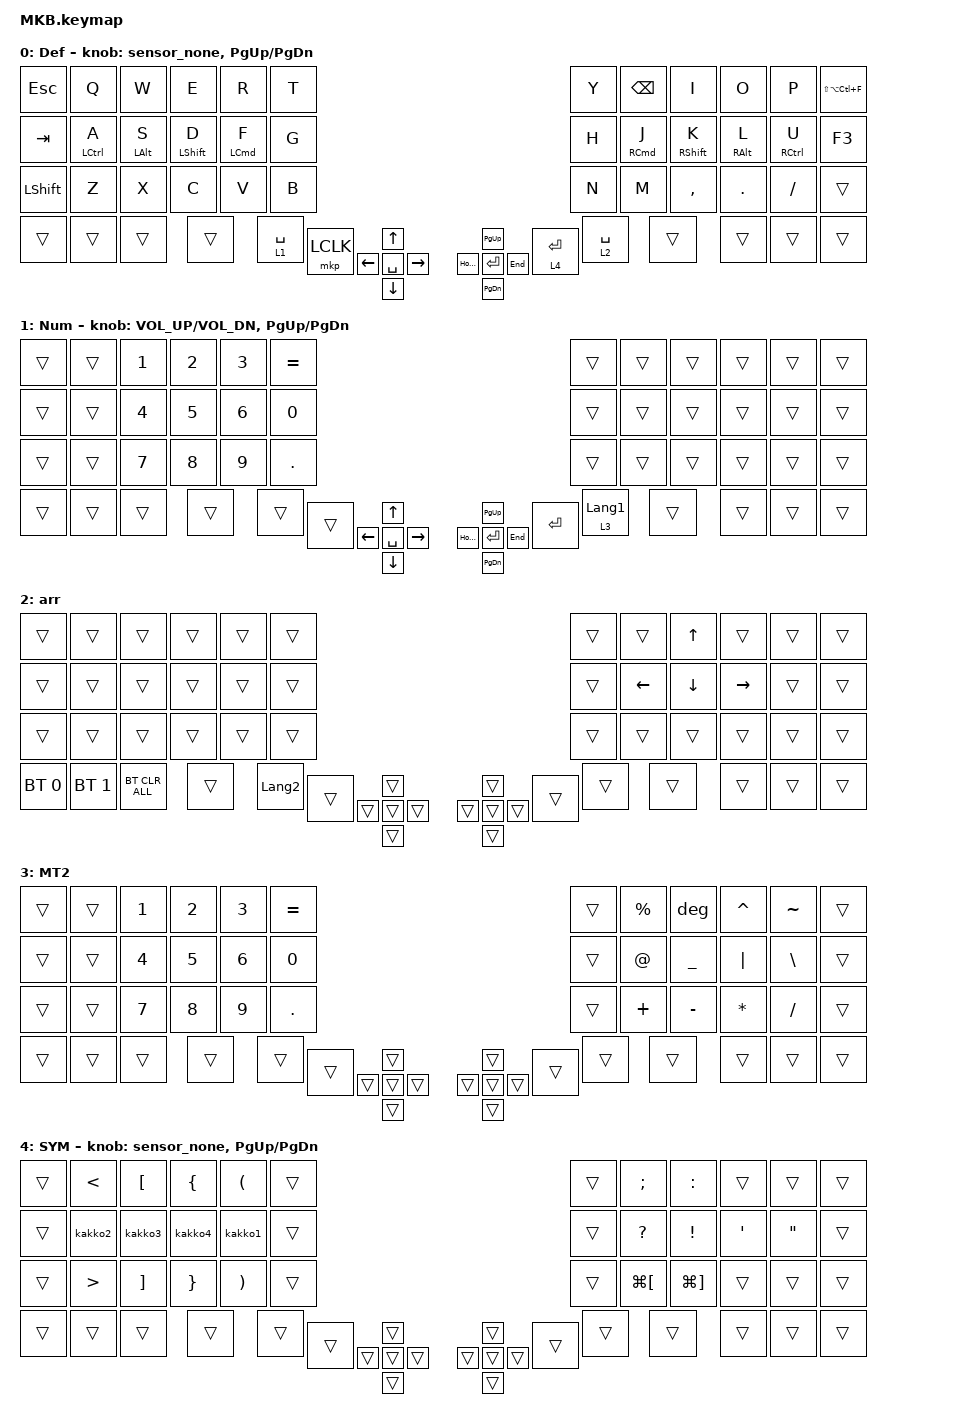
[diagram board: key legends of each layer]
// #include <layout_shift.dtsi>

#include <layout_shift_kp_override.dtsi>
#include <behaviors.dtsi>
#include <dt-bindings/zmk/bt.h>
#include <dt-bindings/zmk/keys.h>
#include <dt-bindings/zmk/pointing.h>

#define DEF 0
#define NUM 1
#define MATH 2
#define SYM 3
#define SYM2 4
#define BT 5

&lt {
    quick-tap-ms = <150>;
    flavor = "tap-preferred";
};

&mt {
    quick-tap-ms = <175>;
    require-prior-idle-ms = <150>;
    flavor = "tap-preferred";
};

/ {
    macros {
        deg: deg {
            compatible = "zmk,behavior-macro";
            #binding-cells = <0>;
            bindings = <&kp SPACE &kp LS(LA(N8)) &kp LS(C)>;
            label = "DEG";
        };

        kakko1: kakko1 {
            compatible = "zmk,behavior-macro";
            #binding-cells = <0>;
            bindings = <&kp LEFT_PARENTHESIS &kp RIGHT_PARENTHESIS>;
            label = "KAKKO1";
        };

        kakko2: kakko2 {
            compatible = "zmk,behavior-macro";
            #binding-cells = <0>;
            bindings = <&kp LESS_THAN &kp GREATER_THAN>;
            label = "KAKKO2";
        };

        kakko3: kakko3 {
            compatible = "zmk,behavior-macro";
            #binding-cells = <0>;
            bindings = <&kp LEFT_BRACKET &kp RIGHT_BRACKET>;
            label = "KAKKO3";
        };

        kakko4: kakko4 {
            compatible = "zmk,behavior-macro";
            #binding-cells = <0>;
            bindings = <&kp LEFT_BRACE &kp RIGHT_BRACE>;
            label = "KAKKO4";
        };

        space_key: space_key {
            compatible = "zmk,behavior-macro-one-param";
            #binding-cells = <1>;
            bindings =
                <&macro_press>,
                <&kp SPACE &macro_param_1to1>,
                <&macro_tap>,
                <&kp MACRO_PLACEHOLDER>,
                <&macro_release>,
                <&kp SPACE>;

            label = "SPACE_KEY";
        };
    };

    behaviors {
        to_num: to_num {
            compatible = "zmk,behavior-hold-tap";
            label = "TO_NUM";
            bindings = <&mo>, <&kp>;

            #binding-cells = <2>;
            hold-trigger-key-positions = <0 1 2 3 4 5 12 13 14 15 16 17 24 25 26 27 28 29 36 37 38 11 23 35 45 43 44 42 41>;
            tapping-term-ms = <200>;
            quick-tap-ms = <175>;
            require-prior-idle-ms = <150>;
        };

        to_arr: to_arr {
            compatible = "zmk,behavior-hold-tap";
            label = "TO_ARR";
            bindings = <&mo>, <&kp>;

            #binding-cells = <2>;
            tapping-term-ms = <200>;
            quick-tap-ms = <175>;
            require-prior-idle-ms = <150>;
            hold-trigger-key-positions = <6 7 8 9 10 11 18 19 20 21 22 23 30 31 32 33 34 35 45 44 43 40 39 0 12 24 36 38 37>;
        };

        lang1_mt2: lang1_mt2 {
            compatible = "zmk,behavior-hold-tap";
            label = "LANG1_MT2";
            bindings = <&mo>, <&kp>;

            #binding-cells = <2>;
            flavor = "tap-preferred";
            tapping-term-ms = <200>;
            hold-while-undecided;
            retro-tap;
        };

        num_mod: num_mod {
            compatible = "zmk,behavior-hold-tap";
            label = "NUM_MOD";
            bindings = <&kp>, <&kp>;

            #binding-cells = <2>;
            tapping-term-ms = <200>;
            hold-trigger-key-positions = <14 15 16>;
        };

        sensor_none: sensor_none {
            compatible = "zmk,behavior-sensor-rotate";
            #sensor-binding-cells = <0>;
            bindings = <&none>, <&none>;
        };
    };

    combos { compatible = "zmk,combos"; };

    keymap {
        compatible = "zmk,keymap";

        default_layer {
            label = "Def";
            bindings = <
&kp ESCAPE  &kp Q        &kp W           &kp E             &kp R               &kp T          &kp Y        &kp BACKSPACE        &kp I              &kp O            &kp P        &kp LS(LA(LC(F)))
&kp TAB     &mt LCTRL A  &mt LEFT_ALT S  &mt LEFT_SHIFT D  &mt LEFT_COMMAND F  &kp G          &kp H        &mt RIGHT_COMMAND J  &mt RIGHT_SHIFT K  &mt RIGHT_ALT L  &mt RCTRL U  &kp F3
&kp LSHFT   &kp Z        &kp X           &kp C             &kp V               &kp B          &kp N        &kp M                &kp COMMA          &kp DOT          &kp SLASH    &trans
&trans      &trans       &trans                            &to_num 1 SPACE     &mkp LCLK      &lt 4 ENTER  &to_arr 2 SPACE                         &trans           &trans       &trans
&kp LEFT    &kp UP       &kp SPACE       &kp DOWN          &kp RIGHT                                       &kp HOME             &kp PG_UP          &kp ENTER        &kp PG_DN    &kp END
                                         &trans                                                                                 &trans
            >;

            sensor-bindings = <&sensor_none>, <&inc_dec_kp PG_UP PG_DN>;
        };

        num_layer {
            label = "Num";
            bindings = <
&trans    &trans  &kp N1     &kp N2    &kp N3     &kp EQUAL      &trans     &trans                   &trans     &trans     &trans     &trans
&trans    &trans  &kp N4     &kp N5    &kp N6     &kp N0         &trans     &trans                   &trans     &trans     &trans     &trans
&trans    &trans  &kp N7     &kp N8    &kp N9     &kp DOT        &trans     &trans                   &trans     &trans     &trans     &trans
&trans    &trans  &trans               &trans     &trans         &kp ENTER  &lang1_mt2 3 LANGUAGE_1             &trans     &trans     &trans
&kp LEFT  &kp UP  &kp SPACE  &kp DOWN  &kp RIGHT                            &kp HOME                 &kp PG_UP  &kp ENTER  &kp PG_DN  &kp END
                             &trans                                                                  &trans
            >;

            sensor-bindings = <&inc_dec_kp C_VOL_UP C_VOL_DN &inc_dec_kp PG_UP PG_DN>;
        };

        arrow {
            bindings = <
&trans        &trans        &trans          &trans  &trans          &trans      &trans  &trans    &kp UP    &trans     &trans  &trans
&trans        &trans        &trans          &trans  &trans          &trans      &trans  &kp LEFT  &kp DOWN  &kp RIGHT  &trans  &trans
&trans        &trans        &trans          &trans  &trans          &trans      &trans  &trans    &trans    &trans     &trans  &trans
&bt BT_SEL 0  &bt BT_SEL 1  &bt BT_CLR_ALL          &kp LANGUAGE_2  &trans      &trans  &trans              &trans     &trans  &trans
&trans        &trans        &trans          &trans  &trans                              &trans    &trans    &trans     &trans  &trans
                                            &trans                                                &trans
            >;

            label = "arr";
        };

        mt2 {
            label = "MT2";
            bindings = <
&trans  &trans  &kp N1  &kp N2  &kp N3  &kp EQUAL      &trans  &kp PERCENT  &deg       &kp CARET  &kp TILDE      &trans
&trans  &trans  &kp N4  &kp N5  &kp N6  &kp N0         &trans  &kp AT       &kp UNDER  &kp PIPE   &kp BACKSLASH  &trans
&trans  &trans  &kp N7  &kp N8  &kp N9  &kp DOT        &trans  &kp PLUS     &kp MINUS  &kp ASTRK  &kp SLASH      &trans
&trans  &trans  &trans          &trans  &trans         &trans  &trans                  &trans     &trans         &trans
&trans  &trans  &trans  &trans  &trans                         &trans       &trans     &trans     &trans         &trans
                        &trans                                              &trans
            >;
        };

        symbol-arrow {
            bindings = <
&trans  &kp LESS_THAN     &kp LEFT_BRACKET   &kp LEFT_BRACE   &kp LPAR               &trans      &trans  &kp SEMI              &kp COLON              &trans            &trans             &trans
&trans  &kakko2           &kakko3            &kakko4          &kakko1                &trans      &trans  &kp QUESTION          &kp EXCL               &kp SINGLE_QUOTE  &kp DOUBLE_QUOTES  &trans
&trans  &kp GREATER_THAN  &kp RIGHT_BRACKET  &kp RIGHT_BRACE  &kp RIGHT_PARENTHESIS  &trans      &trans  &kp LG(LEFT_BRACKET)  &kp LG(RIGHT_BRACKET)  &trans            &trans             &trans
&trans  &trans            &trans                              &trans                 &trans      &trans  &trans                                       &trans            &trans             &trans
&trans  &trans            &trans             &trans           &trans                                     &trans                &trans                 &trans            &trans             &trans
                                             &trans                                                                            &trans
            >;

            label = "SYM";
            sensor-bindings = <&sensor_none>, <&inc_dec_kp PG_UP PG_DN>;
        };
    };

    conditional_layers { compatible = "zmk,conditional-layers"; };
};
